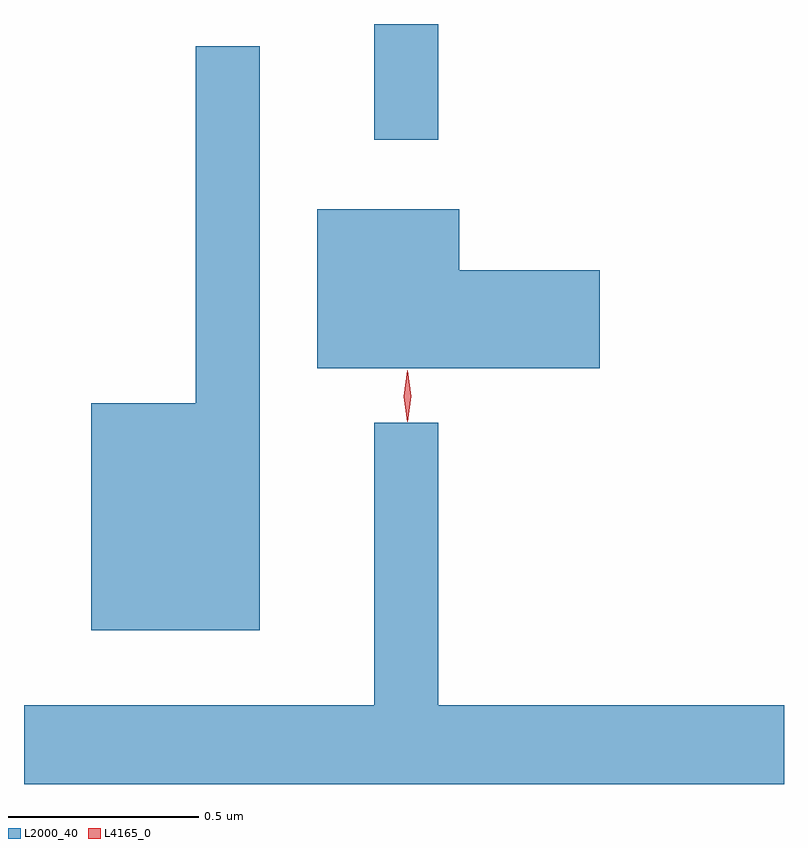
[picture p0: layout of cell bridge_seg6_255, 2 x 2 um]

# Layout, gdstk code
import gdstk
lib = gdstk.Library(unit=1e-6, precision=1e-09)
def R(c, l, rs):  # rectangles x0, y0, x1, y1
    for r in rs: c.add(gdstk.rectangle(r[:2], r[2:], *l))
def P(c, l, *ps):  # polygons
    for p in ps: c.add(gdstk.Polygon(p, *l))
L2000_40 = (2000, 40)
L4165_0 = (4165, 0)

bridge_seg6_255 = lib.new_cell('bridge_seg6_255')
R(bridge_seg6_255, L2000_40, [(1136.201,1542.913,1136.369,1543.217)])
P(bridge_seg6_255, L2000_40, [(1135.899,1543.158),(1135.731,1543.158),(1135.731,1542.219),(1135.456,1542.219),(1135.456,1541.621),(1135.899,1541.621)],
  [(1136.794,1542.569),(1136.424,1542.569),(1136.424,1542.729),(1136.051,1542.729),(1136.051,1542.311),(1136.794,1542.311)],
  [(1137.279,1541.424),(1136.369,1541.424),(1136.369,1542.168),(1136.201,1542.168),(1136.201,1541.424),(1135.279,1541.424),(1135.279,1541.217),(1137.279,1541.217)])
P(bridge_seg6_255, L4165_0, [(1136.288,1542.173),(1136.288,1542.174),(1136.278,1542.236),(1136.288,1542.3),(1136.288,1542.3),(1136.288,1542.3),(1136.298,1542.236),(1136.288,1542.174)],
  [(1136.288,1542.17),(1136.288,1542.17),(1136.278,1542.238),(1136.288,1542.305),(1136.288,1542.306),(1136.289,1542.305),(1136.298,1542.238),(1136.289,1542.17)])

lib.write_gds('bridge_seg6_255.gds')
